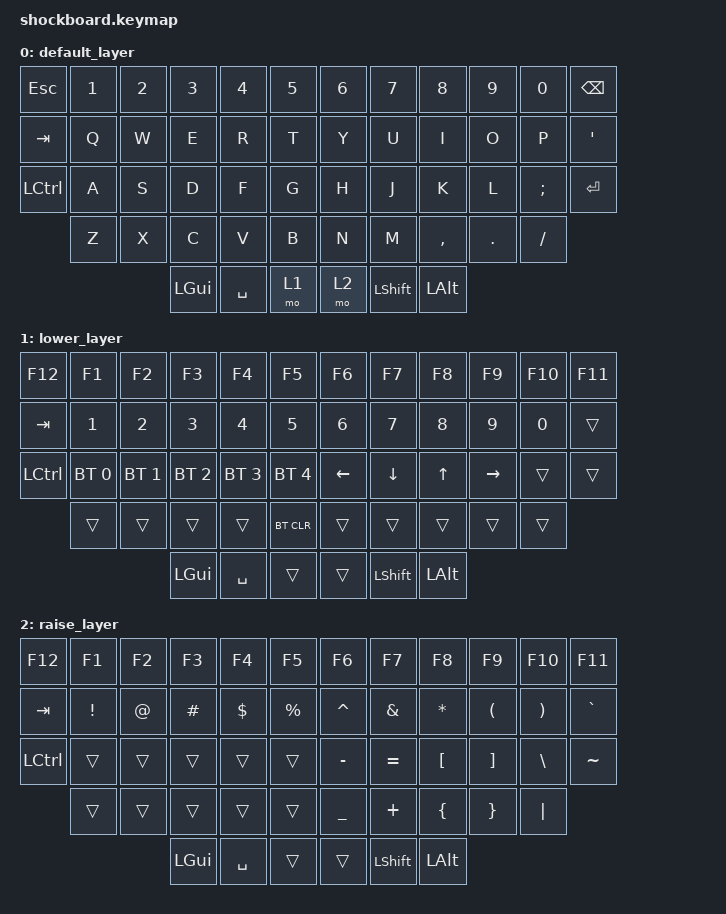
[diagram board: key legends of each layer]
/*
 * Copyright (c) 2020 The ZMK Contributors
 *
 * SPDX-License-Identifier: MIT
 * Modified for shockboard by Steven Eisinger
 */

#include <behaviors.dtsi>
#include <dt-bindings/zmk/keys.h>
#include <dt-bindings/zmk/bt.h>

/ {
    keymap {
        compatible = "zmk,keymap";

        default_layer {
// -----------------------------------------------------------------------------------------
// |  ESC  |  1  |  2  |  3  |  4  |  5  |   |  6  |  7   |  8  |  9  |  0  |  BKSP |
// |  TAB  |  Q  |  W  |  E  |  R  |  T  |   |  Y  |  U   |  I  |  O  |  P  |   '   |
// | CTRL  |  A  |  S  |  D  |  F  |  G  |   |  H  |  J   |  K  |  L  |  ;  |  ENT  |
//         |  Z  |  X  |  C  |  V  |  B  |   |  N  |  M   |  ,  |  .  |  /  |
//                     | GUI | SPC | LWR |   | RSE | SHFT | ALT |
            bindings = <
&kp ESC   &kp N1    &kp N2    &kp N3   &kp N4    &kp N5    &kp N6    &kp N7    &kp N8    &kp N9    &kp N0    &kp BSPC
&kp TAB   &kp Q     &kp W     &kp E    &kp R     &kp T     &kp Y     &kp U     &kp I     &kp O     &kp P     &kp SQT
&kp LCTRL &kp A     &kp S     &kp D    &kp F     &kp G     &kp H     &kp J     &kp K     &kp L     &kp SEMI  &kp RET
          &kp Z     &kp X     &kp C    &kp V     &kp B     &kp N     &kp M     &kp COMMA &kp DOT   &kp FSLH 
                              &kp LGUI &kp SPACE &mo 1     &mo 2     &kp LSHFT &kp LALT
            >;
        };

        lower_layer {
// -----------------------------------------------------------------------------------------
// |  F12 | F1  | F2  | F3  | F4  | F5  |   |  F6 | F7   | F8  | F9  | F10  |  F11 |
// |  TAB |  1  |  2  |  3  |  4  |  5  |   |  6  |  7   |  8  |  9  |   0  |      |
// | CTRL | BT1 | BT2 | BT3 | BT4 | BT5 |   | LFT | DWN  |  UP | RGT |      |      |
//        |     |     |     |     |BTCLR|   |     |      |     |     |      |      |
//                    | GUI | SPC |     |   |     | SHFT | ALT |
            bindings = <
&kp F12    &kp F1       &kp F2       &kp F3       &kp F4       &kp F5         &kp F6      &kp F7    &kp F8   &kp F9    &kp F10 &kp F11
&kp TAB    &kp N1       &kp N2       &kp N3       &kp N4       &kp N5         &kp N6      &kp N7    &kp N8   &kp N9    &kp N0  &trans
&kp LCTRL  &bt BT_SEL 0 &bt BT_SEL 1 &bt BT_SEL 2 &bt BT_SEL 3 &bt BT_SEL 4   &kp LEFT    &kp DOWN  &kp UP   &kp RIGHT &trans  &trans
           &trans       &trans       &trans       &trans       &bt BT_CLR     &trans      &trans    &trans   &trans    &trans
                                     &kp LGUI     &kp SPACE       &trans      &trans      &kp LSHFT &kp LALT
            >;
        };

        raise_layer {
// -----------------------------------------------------------------------------------------
// |  F12 | F1  | F2  | F3  | F4  | F5  |   |  F6  | F7   | F8  | F9  | F10 | F11 |
// |  TAB |  !  |  @  |  #  |  $  |  %  |   |   ^  |  &   |  *  |  (  |  )  |  `  |
// | CTRL |     |     |     |     |     |   |   -  |  =   |  [  |  ]  |  \  |  ~  |
//        |     |     |     |     |     |   |   _  |  +   |  {  |  }  | "|" |
//                    | GUI | SPC |     |   |      | SHFT | ALT |
            bindings = <
&kp F12   &kp F1   &kp F2 &kp F3   &kp F4    &kp F5      &kp F6     &kp F7    &kp F8    &kp F9   &kp F10  &kp F11
&kp TAB   &kp EXCL &kp AT &kp HASH &kp DLLR  &kp PRCNT   &kp CARET  &kp AMPS  &kp ASTRK &kp LPAR &kp RPAR &kp GRAVE
&kp LCTRL &trans   &trans &trans   &trans    &trans      &kp MINUS  &kp EQUAL &kp LBKT  &kp RBKT &kp BSLH &kp TILDE
          &trans   &trans &trans   &trans    &trans      &kp UNDER  &kp PLUS  &kp LBRC  &kp RBRC &kp PIPE
                          &kp LGUI &kp SPACE &trans      &trans     &kp LSHFT &kp LALT
            >;
        };
    };
};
